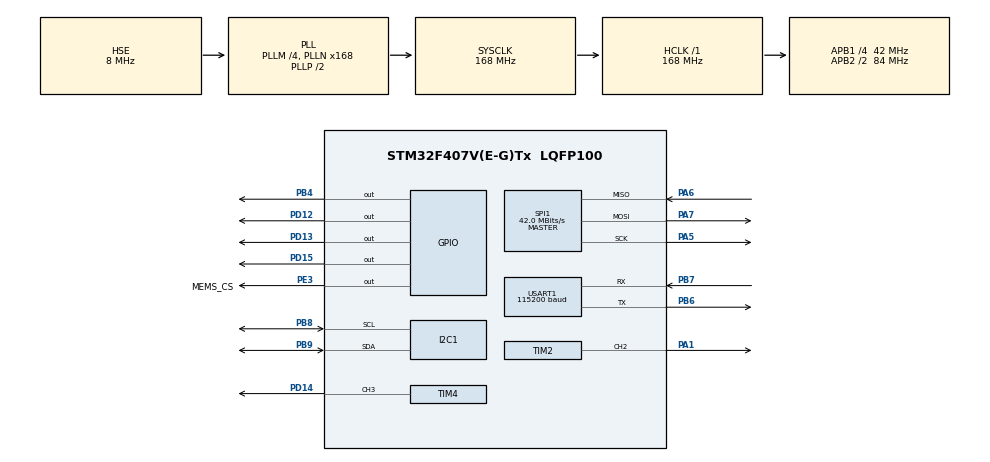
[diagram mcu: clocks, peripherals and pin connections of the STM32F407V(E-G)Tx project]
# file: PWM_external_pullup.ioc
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Dma.Request0=USART1_TX
Dma.Request1=USART1_RX
Dma.USART1_RX.1.Direction=DMA_PERIPH_TO_MEMORY
Dma.USART1_RX.1.FIFOMode=DMA_FIFOMODE_DISABLE
Dma.USART1_RX.1.Instance=DMA2_Stream2
Dma.USART1_RX.1.MemDataAlignment=DMA_MDATAALIGN_BYTE
Dma.USART1_RX.1.MemInc=DMA_MINC_ENABLE
Dma.USART1_RX.1.Mode=DMA_NORMAL
Dma.USART1_RX.1.PeriphDataAlignment=DMA_PDATAALIGN_BYTE
Dma.USART1_RX.1.PeriphInc=DMA_PINC_DISABLE
Dma.USART1_RX.1.Priority=DMA_PRIORITY_LOW
Dma.USART1_TX.0.Direction=DMA_MEMORY_TO_PERIPH
Dma.USART1_TX.0.FIFOMode=DMA_FIFOMODE_DISABLE
Dma.USART1_TX.0.Instance=DMA2_Stream7
Dma.USART1_TX.0.MemDataAlignment=DMA_MDATAALIGN_BYTE
Dma.USART1_TX.0.MemInc=DMA_MINC_ENABLE
Dma.USART1_TX.0.Mode=DMA_NORMAL
Dma.USART1_TX.0.PeriphDataAlignment=DMA_PDATAALIGN_BYTE
Dma.USART1_TX.0.PeriphInc=DMA_PINC_DISABLE
Dma.USART1_TX.0.Priority=DMA_PRIORITY_LOW
I2C1.I2C_Mode=I2C_Fast
Mcu.Family=STM32F4
Mcu.Name=STM32F407V(E-G)Tx
Mcu.Package=LQFP100
NVIC.DMA2_Stream2_IRQn=true\:0\:0\:false\:false\:true\:false\:true
NVIC.DMA2_Stream7_IRQn=true\:0\:0\:false\:false\:true\:false\:true
NVIC.PriorityGroup=NVIC_PRIORITYGROUP_0
NVIC.TIM1_TRG_COM_TIM11_IRQn=true\:0\:0\:false\:false\:true\:true\:true
NVIC.TIM1_UP_TIM10_IRQn=true\:0\:0\:false\:false\:true\:true\:true
NVIC.USART1_IRQn=true\:0\:0\:false\:false\:true\:true\:true
PA1.GPIO_ModeDefaultPP=GPIO_MODE_AF_OD
PA1.GPIO_PuPd=GPIO_NOPULL
PA1.Signal=S_TIM2_CH2
PA5.Mode=Full_Duplex_Master
PA5.Signal=SPI1_SCK
PA6.Mode=Full_Duplex_Master
PA6.Signal=SPI1_MISO
PA7.Mode=Full_Duplex_Master
PA7.Signal=SPI1_MOSI
PB4.Signal=GPIO_Output
PB6.Mode=Asynchronous
PB6.Signal=USART1_TX
PB7.Mode=Asynchronous
PB7.Signal=USART1_RX
PB8.Mode=I2C
PB8.Signal=I2C1_SCL
PB9.Mode=I2C
PB9.Signal=I2C1_SDA
PD12.Signal=GPIO_Output
PD13.Signal=GPIO_Output
PD14.GPIO_ModeDefaultPP=GPIO_MODE_AF_OD
PD14.GPIO_PuPd=GPIO_NOPULL
PD14.Signal=S_TIM4_CH3
PD15.Signal=GPIO_Output
PE3.GPIO_Label=MEMS_CS
PE3.Signal=GPIO_Output
PH0-OSC_IN.Mode=HSE-External-Oscillator
PH0-OSC_IN.Signal=RCC_OSC_IN
PH1-OSC_OUT.Mode=HSE-External-Oscillator
PH1-OSC_OUT.Signal=RCC_OSC_OUT
ProjectManager.HeapSize=0x200
ProjectManager.StackSize=0x400
ProjectManager.TargetToolchain=MDK-ARM V5
RCC.48MHZClocksFreq_Value=48000000
RCC.AHBFreq_Value=168000000
RCC.APB1CLKDivider=RCC_HCLK_DIV4
RCC.APB1Freq_Value=42000000
RCC.APB1TimFreq_Value=84000000
RCC.APB2CLKDivider=RCC_HCLK_DIV2
RCC.APB2Freq_Value=84000000
RCC.APB2TimFreq_Value=168000000
RCC.CortexFreq_Value=168000000
RCC.HCLKFreq_Value=168000000
RCC.HSE_VALUE=8000000
RCC.HSI_VALUE=16000000
RCC.LSE_VALUE=32768
RCC.PLLM=4
RCC.PLLN=168
RCC.PLLQ=7
RCC.PLLSourceVirtual=RCC_PLLSOURCE_HSE
RCC.SYSCLKFreq_VALUE=168000000
RCC.SYSCLKSource=RCC_SYSCLKSOURCE_PLLCLK
RCC.VCOOutputFreq_Value=336000000
SH.S_TIM2_CH2.0=TIM2_CH2,PWM Generation2 CH2
SH.S_TIM4_CH3.0=TIM4_CH3,PWM Generation3 CH3
SPI1.BaudRatePrescaler=SPI_BAUDRATEPRESCALER_2
SPI1.CalculateBaudRate=42.0 MBits/s
SPI1.Direction=SPI_DIRECTION_2LINES
SPI1.Mode=SPI_MODE_MASTER
SPI1.VirtualType=VM_MASTER
TIM10.Period=239
TIM10.Prescaler=9999
TIM11.Period=8399
TIM11.Prescaler=9999
TIM2.Channel-PWM\ Generation2\ CH2=TIM_CHANNEL_2
TIM2.Period=999
TIM2.Prescaler=1679
TIM4.Channel-PWM\ Generation3\ CH3=TIM_CHANNEL_3
TIM4.Period=999
TIM4.Prescaler=1679
USART1.BaudRate=115200
USART1.VirtualMode=VM_ASYNC
VP_TIM10_VS_ClockSourceINT.Mode=Enable_Timer
VP_TIM11_VS_ClockSourceINT.Mode=Enable_Timer
VP_TIM2_VS_ClockSourceINT.Mode=Internal
VP_TIM4_VS_ClockSourceINT.Mode=Internal
board=STM32F4DISCOVERY

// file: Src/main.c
/* USER CODE BEGIN Header */
/**
  ******************************************************************************
  * @file           : main.c
  * @brief          : Main program body
  ******************************************************************************
  * Source code of spherical robot 'SPHERE' constructed by Adrian Luberda on
	* AGH University of Science in Technology as part of Engineering and
	* Master Thesis in years: 2018 - 2020.
	*
	* This is the final version of the code.
  *
  ******************************************************************************
  */
/* USER CODE END Header */

#include "main.h"

/* USER CODE BEGIN Includes */
#include "stm32f4xx_hal.h"
#include "i2c.h"
#include <string.h>
#include "gpio.h"
#include "mpu6050.h"
#include <math.h>
//#include "stdlib.h"
//#include "stdint.h" // makes uint8_t available

/* USER CODE END Includes */

I2C_HandleTypeDef hi2c1;

SPI_HandleTypeDef hspi1;

TIM_HandleTypeDef htim2;
TIM_HandleTypeDef htim4;
TIM_HandleTypeDef htim10;
TIM_HandleTypeDef htim11;

UART_HandleTypeDef huart1;
DMA_HandleTypeDef hdma_usart1_tx;
DMA_HandleTypeDef hdma_usart1_rx;

/* USER CODE BEGIN PV */
uint8_t received_data1;
uint8_t received_data[4];

int16_t acc_x, acc_y, acc_z, gyr_x, gyr_y, gyr_z;
float ax, ay, az, gx, gy, gz, temperature, roll, pitch;
float q0_mah, q1_mah, q2_mah, q3_mah;
float q0_mad, q1_mad, q2_mad, q3_mad;
uint8_t buffer[128];
static uint8_t send_data[40];
uint16_t size = 0;

float pitch_comp, roll_comp; //values from complementary filter
float pitchGyro, pitchAccel;

uint16_t counter = 0;

//PID:
//float sphereTiltY;
//float wspE;
//float wspE1;
//float wspE2;
//float wspU1;
//float wspU2;

//float KP = 0.7;
//float KI = -0.2;
//float KD = -0.2;
//float TD = 0.1;
//float TP = 0.014;
//float TRES = 0.0;
//float TF = 0.14;

/* USER CODE END PV */

void SystemClock_Config(void);
static void MX_GPIO_Init(void);
static void MX_DMA_Init(void);
static void MX_TIM4_Init(void);
static void MX_USART1_UART_Init(void);
static void MX_TIM11_Init(void);
static void MX_TIM2_Init(void);
static void MX_SPI1_Init(void);
static void MX_I2C1_Init(void);
static void MX_TIM10_Init(void);
/* USER CODE BEGIN PFP */

//PRZERWANIE od timera  zadana czestotliwoscia 70Hz
void HAL_TIM_PeriodElapsedCallback(TIM_HandleTypeDef *htim){

	if(htim->Instance == TIM10){ // Jezeli przerwanie pochodzi od timera 10

		//MPU6050_GetAccelerometerScaled(&ax, &ay, &az);
	  //MPU6050_GetGyroscopeScaled(&gx, &gy, &gz);

		ComplementaryFilter(&roll_comp, &pitch_comp);//, &pitchGyro, &pitchAccel);
		MPU6050_GetRollPitch(&roll, &pitch);

		size = sprintf(send_data, "%.2f,%.2f,%d \n", roll, pitch_comp, TIM2->CCR2);
		//size = sprintf(send_data, "%.2f,%.2f,%d,%d \n", roll, pitch_comp, TIM2->CCR2, counter);
		HAL_UART_Transmit_DMA(&huart1, send_data, size);

		counter += 1;
		//PID Controller
		/* Calculating error for PID*/
		//sphereTiltY = pitch_comp;
		//error = sphereTiltSP - sphereTiltY;
		//control = (error*wspE + prev_error*wspE1 + prev2_error*wspE2 + prev_control*wspU1 + prev2_control*wspU2)/TD;

	}
}

////PRZERWANIE - odbiСr danych z uarta (wiele znakСw, sterowanie predkoscia i kierunkiem)
void HAL_UART_RxCpltCallback(UART_HandleTypeDef *huart) {
	//uint8_t send_data[50];
	//uint16_t size = 0;

	uint8_t servo = received_data[0]; // S - bez blokady, T - z blokada
	uint8_t direction = received_data[1]; //Left, Right, albo Forward, Reverse
	int speed = atoi(&received_data[2]);// + atoi(&received_data[3]); //  0-99% ???

	//TIM4->CCR3 = 74; 		// Servo bez blokady: 40-0.8ms, 50-1.0ms, 80-1.6ms, 100-2.0ms, 110-2.2ms  74- STOP
	//TIM2->CCR2 = 56; // Servo z blokada: 20-0.4ms, 130-2.6ms  32- lewe skrajne, 56-srodek, 80-prawe skrajne

	if(servo == 'S' || servo == 's') { //jezeli chcemy sterowac predkoscia [S]peed
		if( direction == 'F' || direction == 'f'){    //jazda do przodu [F]orward
			TIM4->CCR3 = (int)(74 - (34 * speed/100)); //zadajemy predkosc proporcjonalna do zadanej wahadla bez blokady
			//size = sprintf(send_data, "SF%d, TIM4: %d, Roll: %.2f\n", speed, TIM4->CCR3, pitch_comp);
		}
		else if(direction == 'R' || direction == 'r') {      //jazda do tylu [R]everse
			TIM4->CCR3 = (int)(74 + (34 * speed/100)); //zadajemy predkosc proporcjonalna do zadanej wahadla bez blokady
			//size = sprintf(send_data, "SR%d, TIM4: %d, Roll: %.2f\n", speed, TIM4->CCR3, pitch_comp);
		}
		else{		// znaki inne niz przewidziane
			//size = sprintf(send_data, "Odebrana wiadomosc zawiera nieznane znaki!\n");
		}
	}
	else if(servo == 'T' || servo == 't'){        // jezeli chcemy skrecac [T]urn
		if(direction == 'R' || direction == 'r'){   // skrecamy w prawo [R]ight
			TIM2->CCR2 = (int)(57 - (30 * speed/100));
			//size = sprintf(send_data, "TR%d, TIM2: %d, Roll: %.2f\n", speed, TIM2->CCR2, pitch_comp);
		}
		else if(direction == 'L' || direction == 'l') {    //skrecamy w lewo [L]eft
			TIM2->CCR2 = (int)(57 + (30 * speed/100));
			//size = sprintf(send_data, "TL%d, TIM2: %d, Roll: %.2f\n", speed, TIM2->CCR2, pitch_comp);
		}
		else{   // znaki inne niz przewidziane
			//size = sprintf(send_data, "Odebrana wiadomosc zawiera nieznane znaki!\n");
		}
	}
	else {  // znaki inne niz przewidziane
		//size = sprintf(send_data, "Odebrana wiadomosc zawiera nieznane znaki!\n");
	}

	//size = sprintf(send_data, "Roll: %f.2f  Pitch: %f.2f \n", roll, pitch);

	//size = sprintf(send_data, "Odebrana wiadomosc: '%s'\n\r", received_data);
	//wyslanie przygotowanej wiadomosci
	//HAL_UART_Transmit_IT(&huart1, send_data, size);
  //Ponowne wlaczenie nasluchiwania
  HAL_UART_Receive_DMA(&huart1, received_data, 4);
   //Dioda informujaca o tym ze UART odebral dane
	HAL_GPIO_TogglePin(GPIOD, GPIO_PIN_15);
}

//funkcja wysylajaca dane do komputera z czestotliwoscia 1Hz (przerwanie od timera)
//void HAL_TIM_PeriodElapsedCallback(TIM_HandleTypeDef *htim) {
//	uint8_t data[50];// Tablica przechowujaca wysylana wiadomosc.
//	uint16_t size = 0; // Rozmiar wysylanej wiadomosci
////static uint16_t cnt = 0; // Licznik wyslanych wiadomosci
//
//	//HAL_GPIO_TogglePin(GPIOD, GPIO_PIN_13); // Zmiana stanu pinu na diodzie LED (pomaranczowej)
//	size = sprintf(send_data, "%.2f,%.2f,%.2f \n", roll_comp, pitchGyro, pitchAccel);
//	//size = sprintf(data, "Roll: %f  Pitch: %f \n", roll, pitch);  // Wiadomosc do wyslania i przypisanie ilosci wysylanych znakow do zmiennej size.
////
//	HAL_UART_Transmit_IT(&huart1, data, size); // Rozpoczecie nadawania danych z wykorzystaniem przerwan
////	HAL_UART_Receive_IT(&huart1, received_data, 4);
////	//++cnt; // Zwiekszenie licznika wyslanych wiadomosci.
//}

/* USER CODE END PFP */

int main(void)
{

  /* MCU Configuration--------------------------------------------------------*/

  /* Reset of all peripherals, Initializes the Flash interface and the Systick. */
  HAL_Init();

  /* Configure the system clock */
  SystemClock_Config();

  /* Initialize all configured peripherals */
  MX_GPIO_Init();
  MX_DMA_Init();
  MX_TIM4_Init();
  MX_USART1_UART_Init();
  MX_TIM11_Init();
  MX_TIM2_Init();
  MX_SPI1_Init();
  MX_I2C1_Init();
  MX_TIM10_Init();
  /* USER CODE BEGIN 2 */
	HAL_TIM_PWM_Start(&htim4, TIM_CHANNEL_3);
	HAL_TIM_PWM_Start(&htim2, TIM_CHANNEL_2);
	HAL_TIM_Base_Start_IT(&htim11);
	HAL_TIM_Base_Start_IT(&htim10);
	HAL_UART_Receive_DMA(&huart1, received_data, 4); //odbieramy 4 znaki z uart1 i zapisujemy do received_data
	TIM4->CCR3 = 74;
	//TIM4->CCR3 = 74; 		// Servo bez blokady: 40-0.8ms, 50-1.0ms, 80-1.6ms, 100-2.0ms, 110-2.2ms  74- STOP
	TIM2->CCR2 = 57; // Servo z blokada: 20-0.4ms, 130-2.6ms  32[0.6ms]- lewe skrajne, 56[1.12ms]-srodek, 80[1.6ms]-prawe skrajne
	HAL_GPIO_WritePin(GPIOB, GPIO_PIN_4, GPIO_PIN_SET);

// IMU Functions:

	HAL_GPIO_WritePin(GPIOB, GPIO_PIN_4, GPIO_PIN_SET);

	MPU6050_Init(&hi2c1);

  MPU6050_SetInterruptMode(MPU6050_INTMODE_ACTIVEHIGH);
  MPU6050_SetInterruptDrive(MPU6050_INTDRV_PUSHPULL);
  MPU6050_SetInterruptLatch(MPU6050_INTLATCH_WAITCLEAR);
  MPU6050_SetInterruptLatchClear(MPU6050_INTCLEAR_STATUSREAD);

  MPU6050_SetIntEnableRegister(0); // Disable all interrupts

  // Enable Motion interrputs, possibly unnecessary
  MPU6050_SetDHPFMode(MPU6050_DHPF_5);

  MPU6050_SetIntMotionEnabled(1);
  MPU6050_SetIntZeroMotionEnabled(1);
  MPU6050_SetIntFreeFallEnabled(1);

  MPU6050_SetFreeFallDetectionDuration(2);
  MPU6050_SetFreeFallDetectionThreshold(5);

  MPU6050_SetMotionDetectionDuration(5);
  MPU6050_SetMotionDetectionThreshold(2);

  MPU6050_SetZeroMotionDetectionDuration(2);
  MPU6050_SetZeroMotionDetectionThreshold(4);

	//PID
	//wspE  = (KP*TD+KD);
	//wspE1 = (KI*TP*TD + KP*(TP-2*TD) - 2*KD);
	//wspE2 = (TP-TD)*(KI*TP - KP) + KD;
	//wspU1 = -(TP-2*TD);
	//wspU2 = -(TD-TP);

  /* USER CODE END 2 */

  /* Infinite loop */
  /* USER CODE BEGIN WHILE */
  while (1){
  /*
		HAL_Delay(1000);
		TIM2->CCR2 = 32;
		HAL_Delay(1000);
		TIM2->CCR2 = 56;
		HAL_Delay(1000);
		TIM2->CCR2 = 80;
		HAL_Delay(1000);
		TIM2->CCR2 = 80;
		HAL_Delay(1000);
		TIM2->CCR2 = 100;
		HAL_Delay(1000);
		TIM2->CCR2 = 110;
		HAL_Delay(1000);
		TIM2->CCR2 = 130;*/

//		MPU6050_GetAccelerometerScaled(&ax, &ay, &az);
//	  MPU6050_GetGyroscopeScaled(&gx, &gy, &gz);
//		MPU6050_GetRollPitch(&roll, &pitch);
//
//		ComplementaryFilter(&roll_comp, &pitch_comp);//, &pitchGyro, &pitchAccel);
//
//		//size = sprintf(send_data, "Roll: %.2f  Pitch: %.2f \n", roll, pitch);
//
//
//		size = sprintf(send_data, "%.2f,%.2f \n", roll, pitch_comp);
//
//		//size = sprintf(send_data, "%.2f,%.2f,%.2f\n", roll_comp, pitchGyro, pitchAccel);
//		//size = sprintf(send_data, "%.2f,%.2f,%.2f,%.2f\n", roll, pitch, roll_comp, pitch_comp); //roll_comp is actually pitch_comp and vice versa
//		//size = sprintf(send_data, "%.2f,%.2f,%.2f,%.2f,%.2f,%.2f,%.2f,%.2f\n", ax, ay, az, gx, gy, gz, roll_comp, pitch_comp);
//		//size = sprintf(send_data, "%.2f,%.2f,%.2f\n", gx, ay, az);
//		//size = sprintf(send_data, "%.2f,%.2f,%.2f\n", ay, az, gx);
//		HAL_UART_Transmit_IT(&huart1, send_data, size);

//		HAL_Delay(10); //can go down to 18-20

    /* USER CODE END WHILE */

  }
}

void SystemClock_Config(void)
{
  RCC_OscInitTypeDef RCC_OscInitStruct = {0};
  RCC_ClkInitTypeDef RCC_ClkInitStruct = {0};

  /** Configure the main internal regulator output voltage
  */
  __HAL_RCC_PWR_CLK_ENABLE();
  __HAL_PWR_VOLTAGESCALING_CONFIG(PWR_REGULATOR_VOLTAGE_SCALE1);
  /** Initializes the CPU, AHB and APB busses clocks
  */
  RCC_OscInitStruct.OscillatorType = RCC_OSCILLATORTYPE_HSE;
  RCC_OscInitStruct.HSEState = RCC_HSE_ON;
  RCC_OscInitStruct.PLL.PLLState = RCC_PLL_ON;
  RCC_OscInitStruct.PLL.PLLSource = RCC_PLLSOURCE_HSE;
  RCC_OscInitStruct.PLL.PLLM = 4;
  RCC_OscInitStruct.PLL.PLLN = 168;
  RCC_OscInitStruct.PLL.PLLP = RCC_PLLP_DIV2;
  RCC_OscInitStruct.PLL.PLLQ = 7;
  if (HAL_RCC_OscConfig(&RCC_OscInitStruct) != HAL_OK)
  {
    Error_Handler();
  }
  /** Initializes the CPU, AHB and APB busses clocks
  */
  RCC_ClkInitStruct.ClockType = RCC_CLOCKTYPE_HCLK|RCC_CLOCKTYPE_SYSCLK
                              |RCC_CLOCKTYPE_PCLK1|RCC_CLOCKTYPE_PCLK2;
  RCC_ClkInitStruct.SYSCLKSource = RCC_SYSCLKSOURCE_PLLCLK;
  RCC_ClkInitStruct.AHBCLKDivider = RCC_SYSCLK_DIV1;
  RCC_ClkInitStruct.APB1CLKDivider = RCC_HCLK_DIV4;
  RCC_ClkInitStruct.APB2CLKDivider = RCC_HCLK_DIV2;

  if (HAL_RCC_ClockConfig(&RCC_ClkInitStruct, FLASH_LATENCY_5) != HAL_OK)
  {
    Error_Handler();
  }
}

static void MX_I2C1_Init(void)
{

  hi2c1.Instance = I2C1;
  hi2c1.Init.ClockSpeed = 400000;
  hi2c1.Init.DutyCycle = I2C_DUTYCYCLE_2;
  hi2c1.Init.OwnAddress1 = 0;
  hi2c1.Init.AddressingMode = I2C_ADDRESSINGMODE_7BIT;
  hi2c1.Init.DualAddressMode = I2C_DUALADDRESS_DISABLE;
  hi2c1.Init.OwnAddress2 = 0;
  hi2c1.Init.GeneralCallMode = I2C_GENERALCALL_DISABLE;
  hi2c1.Init.NoStretchMode = I2C_NOSTRETCH_DISABLE;
  if (HAL_I2C_Init(&hi2c1) != HAL_OK)
  {
    Error_Handler();
  }

}

static void MX_SPI1_Init(void)
{

  /* SPI1 parameter configuration*/
  hspi1.Instance = SPI1;
  hspi1.Init.Mode = SPI_MODE_MASTER;
  hspi1.Init.Direction = SPI_DIRECTION_2LINES;
  hspi1.Init.DataSize = SPI_DATASIZE_8BIT;
  hspi1.Init.CLKPolarity = SPI_POLARITY_LOW;
  hspi1.Init.CLKPhase = SPI_PHASE_1EDGE;
  hspi1.Init.NSS = SPI_NSS_SOFT;
  hspi1.Init.BaudRatePrescaler = SPI_BAUDRATEPRESCALER_2;
  hspi1.Init.FirstBit = SPI_FIRSTBIT_MSB;
  hspi1.Init.TIMode = SPI_TIMODE_DISABLE;
  hspi1.Init.CRCCalculation = SPI_CRCCALCULATION_DISABLE;
  hspi1.Init.CRCPolynomial = 10;
  if (HAL_SPI_Init(&hspi1) != HAL_OK)
  {
    Error_Handler();
  }

}

static void MX_TIM2_Init(void)
{

  TIM_ClockConfigTypeDef sClockSourceConfig = {0};
  TIM_MasterConfigTypeDef sMasterConfig = {0};
  TIM_OC_InitTypeDef sConfigOC = {0};

  htim2.Instance = TIM2;
  htim2.Init.Prescaler = 1679;
  htim2.Init.CounterMode = TIM_COUNTERMODE_UP;
  htim2.Init.Period = 999;
  htim2.Init.ClockDivision = TIM_CLOCKDIVISION_DIV1;
  htim2.Init.AutoReloadPreload = TIM_AUTORELOAD_PRELOAD_DISABLE;
  if (HAL_TIM_Base_Init(&htim2) != HAL_OK)
  {
    Error_Handler();
  }
  sClockSourceConfig.ClockSource = TIM_CLOCKSOURCE_INTERNAL;
  if (HAL_TIM_ConfigClockSource(&htim2, &sClockSourceConfig) != HAL_OK)
  {
    Error_Handler();
  }
  if (HAL_TIM_PWM_Init(&htim2) != HAL_OK)
  {
    Error_Handler();
  }
  sMasterConfig.MasterOutputTrigger = TIM_TRGO_RESET;
  sMasterConfig.MasterSlaveMode = TIM_MASTERSLAVEMODE_DISABLE;
  if (HAL_TIMEx_MasterConfigSynchronization(&htim2, &sMasterConfig) != HAL_OK)
  {
    Error_Handler();
  }
  sConfigOC.OCMode = TIM_OCMODE_PWM1;
  sConfigOC.Pulse = 0;
  sConfigOC.OCPolarity = TIM_OCPOLARITY_HIGH;
  sConfigOC.OCFastMode = TIM_OCFAST_DISABLE;
  if (HAL_TIM_PWM_ConfigChannel(&htim2, &sConfigOC, TIM_CHANNEL_2) != HAL_OK)
  {
    Error_Handler();
  }
  HAL_TIM_MspPostInit(&htim2);

}

static void MX_TIM4_Init(void)
{

  TIM_ClockConfigTypeDef sClockSourceConfig = {0};
  TIM_MasterConfigTypeDef sMasterConfig = {0};
  TIM_OC_InitTypeDef sConfigOC = {0};

  htim4.Instance = TIM4;
  htim4.Init.Prescaler = 1679;
  htim4.Init.CounterMode = TIM_COUNTERMODE_UP;
  htim4.Init.Period = 999;
  htim4.Init.ClockDivision = TIM_CLOCKDIVISION_DIV1;
  htim4.Init.AutoReloadPreload = TIM_AUTORELOAD_PRELOAD_DISABLE;
  if (HAL_TIM_Base_Init(&htim4) != HAL_OK)
  {
    Error_Handler();
  }
  sClockSourceConfig.ClockSource = TIM_CLOCKSOURCE_INTERNAL;
  if (HAL_TIM_ConfigClockSource(&htim4, &sClockSourceConfig) != HAL_OK)
  {
    Error_Handler();
  }
  if (HAL_TIM_PWM_Init(&htim4) != HAL_OK)
  {
    Error_Handler();
  }
  sMasterConfig.MasterOutputTrigger = TIM_TRGO_RESET;
  sMasterConfig.MasterSlaveMode = TIM_MASTERSLAVEMODE_DISABLE;
  if (HAL_TIMEx_MasterConfigSynchronization(&htim4, &sMasterConfig) != HAL_OK)
  {
    Error_Handler();
  }
  sConfigOC.OCMode = TIM_OCMODE_PWM1;
  sConfigOC.Pulse = 0;
  sConfigOC.OCPolarity = TIM_OCPOLARITY_HIGH;
  sConfigOC.OCFastMode = TIM_OCFAST_DISABLE;
  if (HAL_TIM_PWM_ConfigChannel(&htim4, &sConfigOC, TIM_CHANNEL_3) != HAL_OK)
  {
    Error_Handler();
  }
  HAL_TIM_MspPostInit(&htim4);

}

static void MX_TIM10_Init(void)
{

  htim10.Instance = TIM10;
  htim10.Init.Prescaler = 9999;
  htim10.Init.CounterMode = TIM_COUNTERMODE_UP;
  htim10.Init.Period = 239;
  htim10.Init.ClockDivision = TIM_CLOCKDIVISION_DIV1;
  htim10.Init.AutoReloadPreload = TIM_AUTORELOAD_PRELOAD_DISABLE;
  if (HAL_TIM_Base_Init(&htim10) != HAL_OK)
  {
    Error_Handler();
  }

}

static void MX_TIM11_Init(void)
{

  htim11.Instance = TIM11;
  htim11.Init.Prescaler = 9999;
  htim11.Init.CounterMode = TIM_COUNTERMODE_UP;
  htim11.Init.Period = 8399;
  htim11.Init.ClockDivision = TIM_CLOCKDIVISION_DIV1;
  htim11.Init.AutoReloadPreload = TIM_AUTORELOAD_PRELOAD_DISABLE;
  if (HAL_TIM_Base_Init(&htim11) != HAL_OK)
  {
    Error_Handler();
  }

}

static void MX_USART1_UART_Init(void)
{

  huart1.Instance = USART1;
  huart1.Init.BaudRate = 115200;
  huart1.Init.WordLength = UART_WORDLENGTH_8B;
  huart1.Init.StopBits = UART_STOPBITS_1;
  huart1.Init.Parity = UART_PARITY_NONE;
  huart1.Init.Mode = UART_MODE_TX_RX;
  huart1.Init.HwFlowCtl = UART_HWCONTROL_NONE;
  huart1.Init.OverSampling = UART_OVERSAMPLING_16;
  if (HAL_UART_Init(&huart1) != HAL_OK)
  {
    Error_Handler();
  }

}

static void MX_DMA_Init(void)
{

  /* DMA controller clock enable */
  __HAL_RCC_DMA2_CLK_ENABLE();

  /* DMA interrupt init */
  /* DMA2_Stream2_IRQn interrupt configuration */
  HAL_NVIC_SetPriority(DMA2_Stream2_IRQn, 0, 0);
  HAL_NVIC_EnableIRQ(DMA2_Stream2_IRQn);
  /* DMA2_Stream7_IRQn interrupt configuration */
  HAL_NVIC_SetPriority(DMA2_Stream7_IRQn, 0, 0);
  HAL_NVIC_EnableIRQ(DMA2_Stream7_IRQn);

}

static void MX_GPIO_Init(void)
{
  GPIO_InitTypeDef GPIO_InitStruct = {0};

  /* GPIO Ports Clock Enable */
  __HAL_RCC_GPIOE_CLK_ENABLE();
  __HAL_RCC_GPIOH_CLK_ENABLE();
  __HAL_RCC_GPIOA_CLK_ENABLE();
  __HAL_RCC_GPIOD_CLK_ENABLE();
  __HAL_RCC_GPIOB_CLK_ENABLE();

  /*Configure GPIO pin Output Level */
  HAL_GPIO_WritePin(MEMS_CS_GPIO_Port, MEMS_CS_Pin, GPIO_PIN_RESET);

  /*Configure GPIO pin Output Level */
  HAL_GPIO_WritePin(GPIOD, GPIO_PIN_12|GPIO_PIN_13|GPIO_PIN_15, GPIO_PIN_RESET);

  /*Configure GPIO pin Output Level */
  HAL_GPIO_WritePin(GPIOB, GPIO_PIN_4, GPIO_PIN_RESET);

  /*Configure GPIO pin : MEMS_CS_Pin */
  GPIO_InitStruct.Pin = MEMS_CS_Pin;
  GPIO_InitStruct.Mode = GPIO_MODE_OUTPUT_PP;
  GPIO_InitStruct.Pull = GPIO_NOPULL;
  GPIO_InitStruct.Speed = GPIO_SPEED_FREQ_LOW;
  HAL_GPIO_Init(MEMS_CS_GPIO_Port, &GPIO_InitStruct);

  /*Configure GPIO pins : PD12 PD13 PD15 */
  GPIO_InitStruct.Pin = GPIO_PIN_12|GPIO_PIN_13|GPIO_PIN_15;
  GPIO_InitStruct.Mode = GPIO_MODE_OUTPUT_PP;
  GPIO_InitStruct.Pull = GPIO_NOPULL;
  GPIO_InitStruct.Speed = GPIO_SPEED_FREQ_LOW;
  HAL_GPIO_Init(GPIOD, &GPIO_InitStruct);

  /*Configure GPIO pin : PB4 */
  GPIO_InitStruct.Pin = GPIO_PIN_4;
  GPIO_InitStruct.Mode = GPIO_MODE_OUTPUT_PP;
  GPIO_InitStruct.Pull = GPIO_NOPULL;
  GPIO_InitStruct.Speed = GPIO_SPEED_FREQ_LOW;
  HAL_GPIO_Init(GPIOB, &GPIO_InitStruct);

}

void Error_Handler(void)
{
}

/************************ (C) COPYRIGHT STMicroelectronics *****END OF FILE****/
